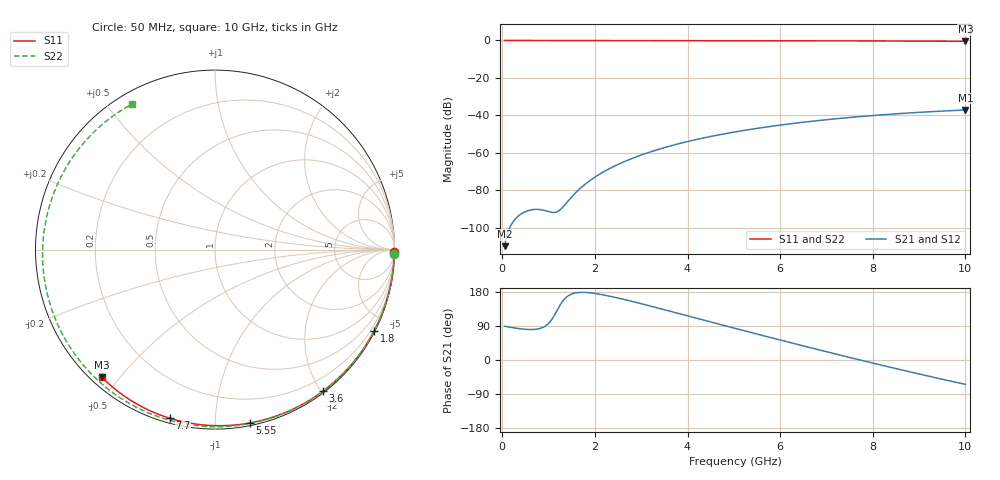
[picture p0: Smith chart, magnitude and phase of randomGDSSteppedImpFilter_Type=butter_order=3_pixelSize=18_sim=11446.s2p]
! freq	dB(S11)	phase(S11)	dB(S12)	phase(S12)
!  dB(S21)	phase(S21)	dB(S22)	phase(S22)
!S-par simulation data
#  GHz  S  DB  R 50
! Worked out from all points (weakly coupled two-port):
!   200 points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, 50 MHz to 10 GHz, reference 50 ohm
!   highest |S21| = -37.16 dB at 10 GHz (marker M1); lowest = -110.0 dB at 50 MHz (marker M2)
!   lowest |S11| = -0.4 dB at 10 GHz (marker M3), VSWR 39.14, Z = 1.54 - j22.5 ohm
!   |S11| at or under -10 dB: nowhere
!   |S22| runs from -0.6 to 0.0 dB; largest |S21 - S12| = 0
!   S11 on the Smith chart (normalised r, x): 50 MHz: open; 1.8 GHz: 0.04, -4.18; 3.6 GHz: 0.02, -2.02; 5.55 GHz: 0.02, -1.22; 7.7 GHz: 0.02, -0.77; 10 GHz: 0.03, -0.45
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0.05  -0.00 -0.8  -109.95 89.1  -109.95 89.1  -0.00 -1.5
0.4  -0.01 -6.1  -92.85 82.2  -92.85 82.2  -0.02 -11.5
0.8  -0.02 -12.1  -90.35 82.7  -90.35 82.7  -0.03 -22.9
1.6  -0.03 -24.0  -80.98 177.4  -80.98 177.4  -0.06 -45.1
1.65  -0.03 -24.7  -79.80 178.2  -79.80 178.2  -0.06 -46.4
1.75  -0.03 -26.2  -77.62 178.5  -77.62 178.5  -0.06 -49.1
1.8  -0.03 -26.9  -76.62 178.3  -76.62 178.3  -0.06 -50.5
2.1  -0.04 -31.3  -71.49 173.6  -71.49 173.6  -0.07 -58.5
2.5  -0.05 -37.1  -66.25 163.5  -66.25 163.5  -0.09 -68.9
2.9  -0.06 -42.8  -62.14 151.6  -62.14 151.6  -0.10 -79.0
3.4  -0.07 -49.9  -58.00 135.9  -58.00 135.9  -0.12 -91.2
3.6  -0.07 -52.7  -56.58 129.5  -56.58 129.5  -0.12 -96.0
4.3  -0.09 -62.2  -52.35 106.9  -52.35 106.9  -0.15 -112.2
5.05  -0.11 -72.2  -48.78 82.8  -48.78 82.8  -0.19 -128.9
5.55  -0.13 -78.7  -46.80 66.9  -46.80 66.9  -0.22 -139.8
6.15  -0.15 -86.2  -44.76 48.1  -44.76 48.1  -0.25 -152.6
6.7  -0.18 -93.0  -43.15 31.0  -43.15 31.0  -0.29 -164.3
7.2  -0.21 -99.1  -41.86 15.8  -41.86 15.8  -0.33 -175.0
7.7  -0.24 -105.0  -40.73 0.7  -40.73 0.7  -0.37 174.1
8.35  -0.29 -112.6  -39.48 -18.4  -39.48 -18.4  -0.43 159.6
9.15  -0.36 -121.8  -38.21 -41.2  -38.21 -41.2  -0.51 141.0
10  -0.44 -131.4  -37.16 -64.2  -37.16 -64.2  -0.60 119.8
